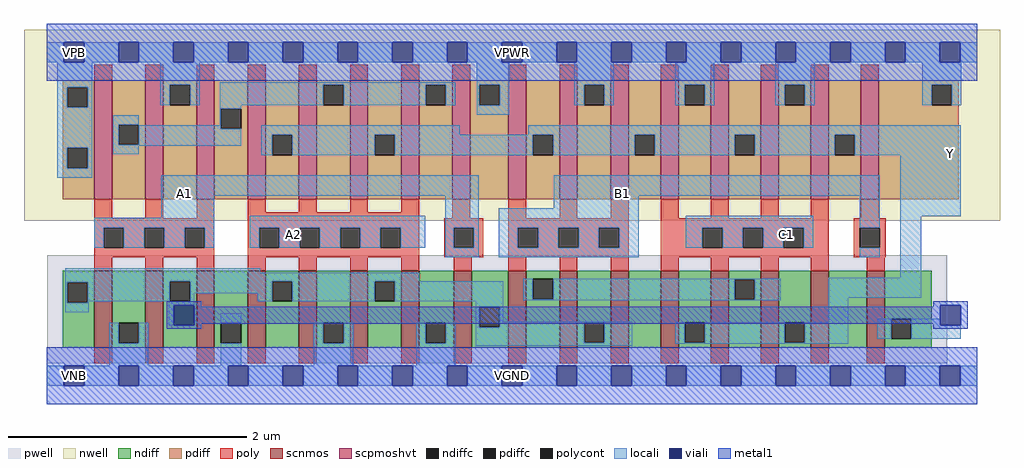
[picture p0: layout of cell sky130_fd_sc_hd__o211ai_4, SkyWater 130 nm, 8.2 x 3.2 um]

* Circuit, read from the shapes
.subckt sky130_fd_sc_hd__o211ai_4 A1 A2 B1 C1 VGND VNB VPB VPWR Y
XM1 VGND A1 n1 VNB sky130_fd_pr__nfet_01v8 w=0.65 l=0.15 m=4
XM2 n1 A2 VGND VNB sky130_fd_pr__nfet_01v8 w=0.65 l=0.15 m=4
XM3 n2 B1 n1 VNB sky130_fd_pr__nfet_01v8 w=0.65 l=0.15 m=2
XM4 n3 B1 n1 VNB sky130_fd_pr__nfet_01v8 w=0.65 l=0.15
XM5 Y C1 n3 VNB sky130_fd_pr__nfet_01v8 w=0.65 l=0.15
XM6 n2 C1 Y VNB sky130_fd_pr__nfet_01v8 w=0.65 l=0.15 m=2
XM7 n4 C1 Y VNB sky130_fd_pr__nfet_01v8 w=0.65 l=0.15
XM8 n1 B1 n4 VNB sky130_fd_pr__nfet_01v8 w=0.65 l=0.15
XM9 n5 A1 VPWR VPB sky130_fd_pr__pfet_01v8_hvt w=1 l=0.15 m=4
XM10 Y A2 n5 VPB sky130_fd_pr__pfet_01v8_hvt w=1 l=0.15 m=4
XM11 Y B1 VPWR VPB sky130_fd_pr__pfet_01v8_hvt w=1 l=0.15 m=4
XM12 VPWR C1 Y VPB sky130_fd_pr__pfet_01v8_hvt w=1 l=0.15 m=4
.ends

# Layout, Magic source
magic
tech sky130A
magscale 1 2
<< nwell >>
rect -38 261 1602 582
<< pwell >>
rect 1 21 1513 203
rect 30 -17 64 21
<< scnmos >>
rect 80 47 110 177
rect 166 47 196 177
rect 252 47 282 177
rect 338 47 368 177
rect 424 47 454 177
rect 510 47 540 177
rect 596 47 626 177
rect 684 47 714 177
rect 776 47 806 177
rect 862 47 892 177
rect 948 47 978 177
rect 1032 47 1062 177
rect 1116 47 1146 177
rect 1200 47 1230 177
rect 1284 47 1314 177
rect 1378 47 1408 177
<< scpmoshvt >>
rect 80 297 110 497
rect 166 297 196 497
rect 252 297 282 497
rect 338 297 368 497
rect 424 297 454 497
rect 510 297 540 497
rect 596 297 626 497
rect 682 297 712 497
rect 776 297 806 497
rect 862 297 892 497
rect 948 297 978 497
rect 1032 297 1062 497
rect 1116 297 1146 497
rect 1200 297 1230 497
rect 1284 297 1314 497
rect 1368 297 1398 497
<< ndiff >>
rect 27 157 80 177
rect 27 123 35 157
rect 69 123 80 157
rect 27 47 80 123
rect 110 89 166 177
rect 110 55 121 89
rect 155 55 166 89
rect 110 47 166 55
rect 196 159 252 177
rect 196 125 207 159
rect 241 125 252 159
rect 196 47 252 125
rect 282 89 338 177
rect 282 55 293 89
rect 327 55 338 89
rect 282 47 338 55
rect 368 159 424 177
rect 368 125 379 159
rect 413 125 424 159
rect 368 47 424 125
rect 454 89 510 177
rect 454 55 465 89
rect 499 55 510 89
rect 454 47 510 55
rect 540 159 596 177
rect 540 125 551 159
rect 585 125 596 159
rect 540 47 596 125
rect 626 89 684 177
rect 626 55 637 89
rect 671 55 684 89
rect 626 47 684 55
rect 714 116 776 177
rect 714 82 727 116
rect 761 82 776 116
rect 714 47 776 82
rect 806 163 862 177
rect 806 129 817 163
rect 851 129 862 163
rect 806 47 862 129
rect 892 90 948 177
rect 892 56 903 90
rect 937 56 948 90
rect 892 47 948 56
rect 978 47 1032 177
rect 1062 90 1116 177
rect 1062 56 1072 90
rect 1106 56 1116 90
rect 1062 47 1116 56
rect 1146 162 1200 177
rect 1146 128 1156 162
rect 1190 128 1200 162
rect 1146 47 1200 128
rect 1230 90 1284 177
rect 1230 56 1240 90
rect 1274 56 1284 90
rect 1230 47 1284 56
rect 1314 47 1378 177
rect 1408 96 1487 177
rect 1408 62 1419 96
rect 1453 62 1487 96
rect 1408 47 1487 62
<< pdiff >>
rect 27 485 80 497
rect 27 451 35 485
rect 69 451 80 485
rect 27 383 80 451
rect 27 349 35 383
rect 69 349 80 383
rect 27 297 80 349
rect 110 422 166 497
rect 110 388 121 422
rect 155 388 166 422
rect 110 297 166 388
rect 196 489 252 497
rect 196 455 207 489
rect 241 455 252 489
rect 196 297 252 455
rect 282 449 338 497
rect 282 415 293 449
rect 327 415 338 449
rect 282 297 338 415
rect 368 405 424 497
rect 368 371 379 405
rect 413 371 424 405
rect 368 297 424 371
rect 454 489 510 497
rect 454 455 465 489
rect 499 455 510 489
rect 454 297 510 455
rect 540 405 596 497
rect 540 371 551 405
rect 585 371 596 405
rect 540 297 596 371
rect 626 489 682 497
rect 626 455 637 489
rect 671 455 682 489
rect 626 297 682 455
rect 712 489 776 497
rect 712 455 727 489
rect 761 455 776 489
rect 712 297 776 455
rect 806 405 862 497
rect 806 371 817 405
rect 851 371 862 405
rect 806 297 862 371
rect 892 489 948 497
rect 892 455 903 489
rect 937 455 948 489
rect 892 297 948 455
rect 978 405 1032 497
rect 978 371 988 405
rect 1022 371 1032 405
rect 978 297 1032 371
rect 1062 489 1116 497
rect 1062 455 1072 489
rect 1106 455 1116 489
rect 1062 297 1116 455
rect 1146 405 1200 497
rect 1146 371 1156 405
rect 1190 371 1200 405
rect 1146 297 1200 371
rect 1230 489 1284 497
rect 1230 455 1240 489
rect 1274 455 1284 489
rect 1230 297 1284 455
rect 1314 405 1368 497
rect 1314 371 1324 405
rect 1358 371 1368 405
rect 1314 297 1368 371
rect 1398 489 1533 497
rect 1398 455 1487 489
rect 1521 455 1533 489
rect 1398 297 1533 455
<< ndiffc >>
rect 35 123 69 157
rect 121 55 155 89
rect 207 125 241 159
rect 293 55 327 89
rect 379 125 413 159
rect 465 55 499 89
rect 551 125 585 159
rect 637 55 671 89
rect 727 82 761 116
rect 817 129 851 163
rect 903 56 937 90
rect 1072 56 1106 90
rect 1156 128 1190 162
rect 1240 56 1274 90
rect 1419 62 1453 96
<< pdiffc >>
rect 35 451 69 485
rect 35 349 69 383
rect 121 388 155 422
rect 207 455 241 489
rect 293 415 327 449
rect 379 371 413 405
rect 465 455 499 489
rect 551 371 585 405
rect 637 455 671 489
rect 727 455 761 489
rect 817 371 851 405
rect 903 455 937 489
rect 988 371 1022 405
rect 1072 455 1106 489
rect 1156 371 1190 405
rect 1240 455 1274 489
rect 1324 371 1358 405
rect 1487 455 1521 489
<< poly >>
rect 80 497 110 523
rect 166 497 196 523
rect 252 497 282 523
rect 338 497 368 523
rect 424 497 454 523
rect 510 497 540 523
rect 596 497 626 523
rect 682 497 712 523
rect 776 497 806 523
rect 862 497 892 523
rect 948 497 978 523
rect 1032 497 1062 523
rect 1116 497 1146 523
rect 1200 497 1230 523
rect 1284 497 1314 523
rect 1368 497 1398 523
rect 80 265 110 297
rect 166 265 196 297
rect 252 265 282 297
rect 80 249 282 265
rect 80 215 96 249
rect 130 215 164 249
rect 198 215 232 249
rect 266 215 282 249
rect 80 199 282 215
rect 80 177 110 199
rect 166 177 196 199
rect 252 177 282 199
rect 338 275 368 297
rect 424 275 454 297
rect 510 275 540 297
rect 596 275 626 297
rect 338 249 626 275
rect 682 265 712 297
rect 776 265 806 297
rect 862 265 892 297
rect 948 265 978 297
rect 338 215 357 249
rect 391 215 425 249
rect 459 215 493 249
rect 527 215 561 249
rect 595 215 626 249
rect 338 199 626 215
rect 668 249 734 265
rect 668 215 684 249
rect 718 215 734 249
rect 668 199 734 215
rect 776 249 978 265
rect 776 215 792 249
rect 826 215 860 249
rect 894 215 928 249
rect 962 215 978 249
rect 776 199 978 215
rect 338 177 368 199
rect 424 177 454 199
rect 510 177 540 199
rect 596 177 626 199
rect 684 177 714 199
rect 776 177 806 199
rect 862 177 892 199
rect 948 177 978 199
rect 1032 265 1062 297
rect 1116 265 1146 297
rect 1200 265 1230 297
rect 1284 265 1314 297
rect 1368 265 1398 297
rect 1032 249 1314 265
rect 1032 215 1102 249
rect 1136 215 1170 249
rect 1204 215 1238 249
rect 1272 215 1314 249
rect 1032 199 1314 215
rect 1356 249 1410 265
rect 1356 215 1366 249
rect 1400 215 1410 249
rect 1356 199 1410 215
rect 1032 177 1062 199
rect 1116 177 1146 199
rect 1200 177 1230 199
rect 1284 177 1314 199
rect 1378 177 1408 199
rect 80 21 110 47
rect 166 21 196 47
rect 252 21 282 47
rect 338 21 368 47
rect 424 21 454 47
rect 510 21 540 47
rect 596 21 626 47
rect 684 21 714 47
rect 776 21 806 47
rect 862 21 892 47
rect 948 21 978 47
rect 1032 21 1062 47
rect 1116 21 1146 47
rect 1200 21 1230 47
rect 1284 21 1314 47
rect 1378 21 1408 47
<< polycont >>
rect 96 215 130 249
rect 164 215 198 249
rect 232 215 266 249
rect 357 215 391 249
rect 425 215 459 249
rect 493 215 527 249
rect 561 215 595 249
rect 684 215 718 249
rect 792 215 826 249
rect 860 215 894 249
rect 928 215 962 249
rect 1102 215 1136 249
rect 1170 215 1204 249
rect 1238 215 1272 249
rect 1366 215 1400 249
<< locali >>
rect 0 527 29 561
rect 63 527 121 561
rect 155 527 213 561
rect 247 527 305 561
rect 339 527 397 561
rect 431 527 489 561
rect 523 527 581 561
rect 615 527 673 561
rect 707 527 765 561
rect 799 527 857 561
rect 891 527 949 561
rect 983 527 1041 561
rect 1075 527 1133 561
rect 1167 527 1225 561
rect 1259 527 1317 561
rect 1351 527 1409 561
rect 1443 527 1501 561
rect 1535 527 1564 561
rect 18 485 77 527
rect 18 451 35 485
rect 69 451 77 485
rect 191 489 257 527
rect 191 455 207 489
rect 241 455 257 489
rect 291 489 687 493
rect 291 455 465 489
rect 499 455 637 489
rect 671 455 687 489
rect 723 489 777 527
rect 723 455 727 489
rect 761 455 777 489
rect 887 489 953 527
rect 887 455 903 489
rect 937 455 953 489
rect 1056 489 1122 527
rect 1056 455 1072 489
rect 1106 455 1122 489
rect 1224 489 1291 527
rect 1224 455 1240 489
rect 1274 455 1291 489
rect 1471 489 1537 527
rect 1471 455 1487 489
rect 1521 455 1537 489
rect 18 383 77 451
rect 291 449 327 455
rect 18 349 35 383
rect 69 349 77 383
rect 111 422 155 438
rect 111 388 121 422
rect 291 421 293 449
rect 155 415 293 421
rect 723 439 777 455
rect 155 388 327 415
rect 111 387 327 388
rect 361 405 694 421
rect 809 405 1536 421
rect 111 372 155 387
rect 361 371 379 405
rect 413 371 551 405
rect 585 371 817 405
rect 851 371 988 405
rect 1022 371 1156 405
rect 1190 371 1324 405
rect 1358 371 1536 405
rect 18 333 77 349
rect 193 303 726 337
rect 193 266 282 303
rect 80 249 282 266
rect 80 215 96 249
rect 130 215 164 249
rect 198 215 232 249
rect 266 215 282 249
rect 341 249 636 269
rect 341 215 357 249
rect 391 215 425 249
rect 459 215 493 249
rect 527 215 561 249
rect 595 215 636 249
rect 670 249 726 303
rect 852 303 1400 337
rect 852 282 995 303
rect 670 215 684 249
rect 718 215 726 249
rect 670 199 726 215
rect 760 249 995 282
rect 760 215 792 249
rect 826 215 860 249
rect 894 215 928 249
rect 962 215 995 249
rect 1074 249 1288 269
rect 1074 215 1102 249
rect 1136 215 1170 249
rect 1204 215 1238 249
rect 1272 215 1288 249
rect 1366 249 1400 303
rect 760 199 995 215
rect 1366 199 1400 215
rect 1434 268 1536 371
rect 31 173 359 181
rect 31 159 626 173
rect 1434 165 1470 268
rect 31 157 207 159
rect 31 123 35 157
rect 69 125 207 157
rect 241 139 379 159
rect 241 125 248 139
rect 355 125 379 139
rect 413 125 551 159
rect 585 125 767 159
rect 801 129 817 163
rect 851 162 1234 163
rect 851 129 1156 162
rect 801 128 1156 129
rect 1190 128 1234 162
rect 801 127 1234 128
rect 1313 131 1470 165
rect 69 123 71 125
rect 31 107 71 123
rect 205 119 248 125
rect 105 55 121 89
rect 155 55 171 89
rect 205 85 214 119
rect 721 116 767 125
rect 293 89 327 105
rect 105 17 171 55
rect 293 17 327 55
rect 449 55 465 89
rect 499 55 515 89
rect 449 17 515 55
rect 621 55 637 89
rect 671 55 687 89
rect 621 17 687 55
rect 721 82 727 116
rect 761 91 767 116
rect 761 90 984 91
rect 1313 90 1347 131
rect 761 82 903 90
rect 721 56 903 82
rect 937 56 984 90
rect 721 51 984 56
rect 1056 56 1072 90
rect 1106 56 1240 90
rect 1274 56 1347 90
rect 1396 62 1419 96
rect 1453 85 1502 96
rect 1453 62 1536 85
rect 1056 54 1347 56
rect 0 -17 29 17
rect 63 -17 121 17
rect 155 -17 213 17
rect 247 -17 305 17
rect 339 -17 397 17
rect 431 -17 489 17
rect 523 -17 581 17
rect 615 -17 673 17
rect 707 -17 765 17
rect 799 -17 857 17
rect 891 -17 949 17
rect 983 -17 1041 17
rect 1075 -17 1133 17
rect 1167 -17 1225 17
rect 1259 -17 1317 17
rect 1351 -17 1409 17
rect 1443 -17 1501 17
rect 1535 -17 1564 17
<< viali >>
rect 29 527 63 561
rect 121 527 155 561
rect 213 527 247 561
rect 305 527 339 561
rect 397 527 431 561
rect 489 527 523 561
rect 581 527 615 561
rect 673 527 707 561
rect 765 527 799 561
rect 857 527 891 561
rect 949 527 983 561
rect 1041 527 1075 561
rect 1133 527 1167 561
rect 1225 527 1259 561
rect 1317 527 1351 561
rect 1409 527 1443 561
rect 1501 527 1535 561
rect 214 85 248 119
rect 1502 85 1536 119
rect 29 -17 63 17
rect 121 -17 155 17
rect 213 -17 247 17
rect 305 -17 339 17
rect 397 -17 431 17
rect 489 -17 523 17
rect 581 -17 615 17
rect 673 -17 707 17
rect 765 -17 799 17
rect 857 -17 891 17
rect 949 -17 983 17
rect 1041 -17 1075 17
rect 1133 -17 1167 17
rect 1225 -17 1259 17
rect 1317 -17 1351 17
rect 1409 -17 1443 17
rect 1501 -17 1535 17
<< metal1 >>
rect 0 561 1564 592
rect 0 527 29 561
rect 63 527 121 561
rect 155 527 213 561
rect 247 527 305 561
rect 339 527 397 561
rect 431 527 489 561
rect 523 527 581 561
rect 615 527 673 561
rect 707 527 765 561
rect 799 527 857 561
rect 891 527 949 561
rect 983 527 1041 561
rect 1075 527 1133 561
rect 1167 527 1225 561
rect 1259 527 1317 561
rect 1351 527 1409 561
rect 1443 527 1501 561
rect 1535 527 1564 561
rect 0 496 1564 527
rect 202 119 260 125
rect 202 85 214 119
rect 248 116 260 119
rect 1490 119 1548 125
rect 1490 116 1502 119
rect 248 88 1502 116
rect 248 85 260 88
rect 202 79 260 85
rect 1490 85 1502 88
rect 1536 85 1548 119
rect 1490 79 1548 85
rect 0 17 1564 48
rect 0 -17 29 17
rect 63 -17 121 17
rect 155 -17 213 17
rect 247 -17 305 17
rect 339 -17 397 17
rect 431 -17 489 17
rect 523 -17 581 17
rect 615 -17 673 17
rect 707 -17 765 17
rect 799 -17 857 17
rect 891 -17 949 17
rect 983 -17 1041 17
rect 1075 -17 1133 17
rect 1167 -17 1225 17
rect 1259 -17 1317 17
rect 1351 -17 1409 17
rect 1443 -17 1501 17
rect 1535 -17 1564 17
rect 0 -48 1564 -17
<< labels >>
flabel locali s 214 289 248 323 0 FreeSans 340 0 0 0 A1
port 1 nsew signal input
flabel locali s 950 289 984 323 0 FreeSans 340 0 0 0 B1
port 3 nsew signal input
flabel locali s 398 221 432 255 0 FreeSans 340 0 0 0 A2
port 2 nsew signal input
flabel locali s 1226 221 1260 255 0 FreeSans 340 0 0 0 C1
port 4 nsew signal input
flabel locali s 1502 357 1536 391 0 FreeSans 340 0 0 0 Y
port 9 nsew signal output
flabel pwell s 30 -17 64 17 0 FreeSans 200 0 0 0 VNB
port 6 nsew ground bidirectional
flabel nwell s 30 527 64 561 0 FreeSans 200 0 0 0 VPB
port 7 nsew power bidirectional
flabel metal1 s 30 -17 64 17 0 FreeSans 200 0 0 0 VGND
port 5 nsew ground bidirectional abutment
flabel metal1 s 30 527 64 561 0 FreeSans 200 0 0 0 VPWR
port 8 nsew power bidirectional abutment
rlabel comment s 0 0 0 0 4 o211ai_4
rlabel metal1 s 0 -48 1564 48 1 VGND
port 5 nsew ground bidirectional abutment
rlabel metal1 s 0 496 1564 592 1 VPWR
port 8 nsew power bidirectional abutment
<< properties >>
string FIXED_BBOX 0 0 1564 544
string GDS_END 793882
string GDS_FILE $PDKPATH/libs.ref/sky130_fd_sc_hd/gds/sky130_fd_sc_hd.gds
string GDS_START 783862
string LEFclass CORE
string LEFsite unithd
string LEFsymmetry X Y R90
string path 0.000 0.000 7.820 0.000 
<< end >>
